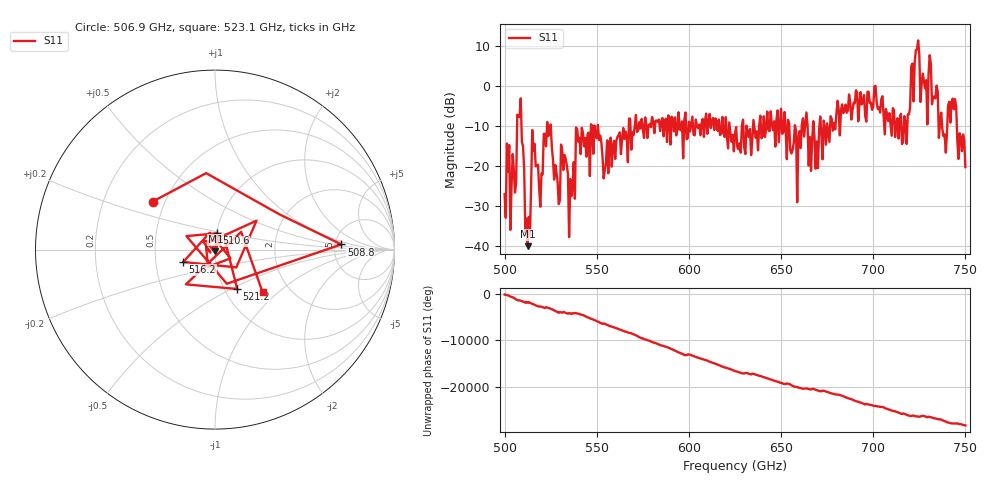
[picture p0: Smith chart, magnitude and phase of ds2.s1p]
# GHz S RI R 50
!freq	ReS11	ImS11
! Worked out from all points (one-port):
!   401 points, 500 GHz to 750 GHz, reference 50 ohm
!   lowest |S11| = -40.2 dB at 512.5 GHz (marker M1), VSWR 1.02, Z = 50.2 - j0.952 ohm
!   |S11| at or under -10 dB: 509.1 GHz to 523 GHz (13.87 GHz wide, 2.69 % of centre); 525 GHz to 546.9 GHz (21.81 GHz wide, 4.07 % of centre); 550.7 GHz to 567.4 GHz (16.72 GHz wide, 2.99 % of centre) (the widest 3 of 67)
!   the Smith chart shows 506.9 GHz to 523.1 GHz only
!   S11 on the Smith chart (normalised r, x): 506.9 GHz: 0.43, +0.28; 508.8 GHz: 5.69, +0.65; 510.6 GHz: 1.00, +0.18; 516.2 GHz: 0.69, -0.10; 521.2 GHz: 1.15, -0.54; 523.1 GHz: 1.46, -0.80
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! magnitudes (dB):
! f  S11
! 500 GHz  -27.1
! 504.4 GHz  -17.0
! 506.9 GHz  -7.2
! 508.8 GHz  -3.0
! 510.6 GHz  -20.8
! 512.5 GHz  -40.2
! 516.2 GHz  -14.4
! 519.4 GHz  -30.3
! 521.2 GHz  -12.0
! 523.1 GHz  -9.0
! 528.8 GHz  -24.0
! 531.2 GHz  -16.0
! 535.6 GHz  -23.3
! 540 GHz  -13.9
! 550 GHz  -13.1
! 555 GHz  -19.3
! 562.5 GHz  -11.6
! 593.8 GHz  -11.0
! 625 GHz  -11.8
! 648.8 GHz  -14.0
! 656.2 GHz  -16.0
! 669.4 GHz  -13.9
! 687.5 GHz  -4.0
! 718.8 GHz  -7.1
! 723.8 GHz  9.3
! 738.8 GHz  -12.1
! 743.8 GHz  -5.8
! 750 GHz  -20.3
